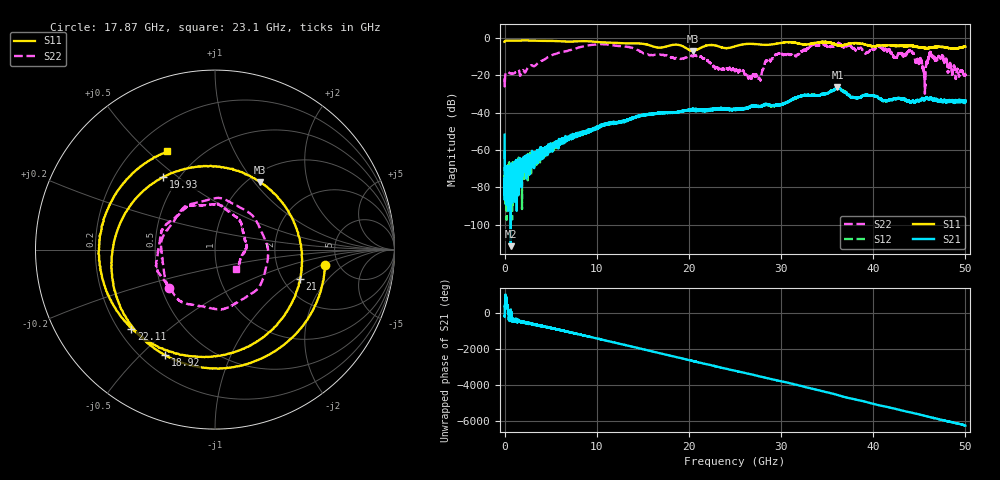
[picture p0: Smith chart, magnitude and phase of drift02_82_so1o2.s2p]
!Created with skrf (http://scikit-rf.org).
# Hz S RI R 50.0
!freq ReS11 ImS11 ReS21 ImS21 ReS12 ImS12 ReS22 ImS22
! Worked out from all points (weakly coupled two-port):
!   10001 points, 300 kHz to 50 GHz, reference 50 ohm
!   highest |S21| = -26.24 dB at 36.12 GHz (marker M1); lowest = -111.5 dB at 670.3 MHz (marker M2)
!   lowest |S11| = -6.9 dB at 20.43 GHz (marker M3), VSWR 2.65, Z = 56.8 + j53.5 ohm
!   |S11| at or under -10 dB: nowhere
!   |S22| runs from -29.9 to -2.6 dB; largest |S21 - S12| = 0.0048
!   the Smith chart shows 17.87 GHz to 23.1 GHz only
!   S11 on the Smith chart (normalised r, x): 17.87 GHz: 3.92, -1.10; 18.92 GHz: 0.29, -0.59; 19.93 GHz: 0.41, +0.44; 21 GHz: 2.46, -1.09; 22.11 GHz: 0.25, -0.38; 23.1 GHz: 0.33, +0.57
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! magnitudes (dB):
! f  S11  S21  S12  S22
! 300 kHz  -2.1  -51.8  -60.2  -21.6
! 255.3 MHz  -1.4  -76.8  -75.5  -18.2
! 670.3 MHz  -1.5  -111.5  -70.9  -19.0
! 8.335 GHz  -1.7  -51.4  -50.8  -4.7
! 16.67 GHz  -5.2  -40.3  -40.2  -9.0
! 17.87 GHz  -4.2  -40.1  -39.9  -9.6
! 18.92 GHz  -3.7  -39.7  -39.7  -10.8
! 19.93 GHz  -6.1  -38.7  -38.6  -9.9
! 20.43 GHz  -6.9  -38.0  -38.6  -9.8
! 21 GHz  -6.0  -38.6  -38.4  -9.4
! 22.11 GHz  -3.9  -38.8  -38.8  -12.7
! 23.1 GHz  -4.3  -37.9  -37.9  -15.9
! 25 GHz  -4.5  -38.4  -38.1  -17.8
! 27.63 GHz  -3.5  -36.5  -36.7  -21.3
! 29.54 GHz  -3.0  -36.1  -36.2  -8.8
! 33.34 GHz  -3.0  -30.5  -30.5  -3.8
! 36.12 GHz  -3.8  -26.2  -27.0  -3.2
! 41.67 GHz  -3.9  -33.3  -33.6  -6.1
! 44.14 GHz  -4.2  -34.5  -34.5  -7.1
! 45.52 GHz  -5.4  -32.8  -32.8  -19.6
! 47.34 GHz  -4.8  -33.2  -33.3  -10.6
! 50 GHz  -4.7  -33.4  -34.4  -20.3
